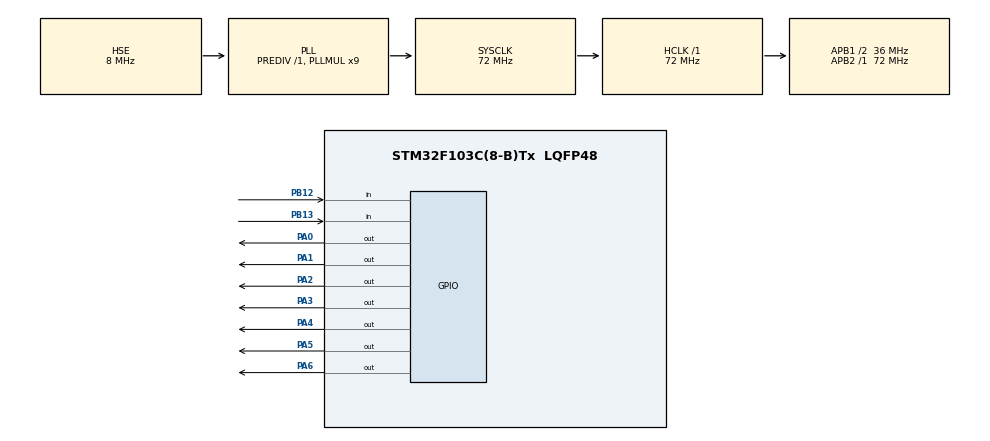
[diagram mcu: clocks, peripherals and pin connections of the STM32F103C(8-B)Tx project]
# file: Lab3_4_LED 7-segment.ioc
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Mcu.Family=STM32F1
Mcu.Name=STM32F103C(8-B)Tx
Mcu.Package=LQFP48
NVIC.PriorityGroup=NVIC_PRIORITYGROUP_4
PA0-WKUP.PinState=GPIO_PIN_RESET
PA0-WKUP.Signal=GPIO_Output
PA1.PinState=GPIO_PIN_RESET
PA1.Signal=GPIO_Output
PA13.Mode=Serial_Wire
PA13.Signal=SYS_JTMS-SWDIO
PA14.Mode=Serial_Wire
PA14.Signal=SYS_JTCK-SWCLK
PA2.PinState=GPIO_PIN_RESET
PA2.Signal=GPIO_Output
PA3.PinState=GPIO_PIN_RESET
PA3.Signal=GPIO_Output
PA4.PinState=GPIO_PIN_RESET
PA4.Signal=GPIO_Output
PA5.PinState=GPIO_PIN_RESET
PA5.Signal=GPIO_Output
PA6.PinState=GPIO_PIN_RESET
PA6.Signal=GPIO_Output
PB12.Signal=GPIO_Input
PB13.Signal=GPIO_Input
PD0-OSC_IN.Mode=HSE-External-Oscillator
PD0-OSC_IN.Signal=RCC_OSC_IN
PD1-OSC_OUT.Mode=HSE-External-Oscillator
PD1-OSC_OUT.Signal=RCC_OSC_OUT
ProjectManager.HeapSize=0x200
ProjectManager.StackSize=0x400
ProjectManager.TargetToolchain=STM32CubeIDE
RCC.AHBFreq_Value=72000000
RCC.APB1CLKDivider=RCC_HCLK_DIV2
RCC.APB1Freq_Value=36000000
RCC.APB1TimFreq_Value=72000000
RCC.APB2Freq_Value=72000000
RCC.APB2TimFreq_Value=72000000
RCC.HCLKFreq_Value=72000000
RCC.PLLMUL=RCC_PLL_MUL9
RCC.PLLSourceVirtual=RCC_PLLSOURCE_HSE
RCC.SYSCLKFreq_VALUE=72000000
RCC.SYSCLKSource=RCC_SYSCLKSOURCE_PLLCLK
RCC.USBFreq_Value=72000000
board=custom

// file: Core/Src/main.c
/* USER CODE BEGIN Header */
/**
  ******************************************************************************
  * @file           : main.c
  * @brief          : Main program body
  ******************************************************************************
  * @attention
  *
  * Copyright (c) 2026 STMicroelectronics.
  * All rights reserved.
  *
  * This software is licensed under terms that can be found in the LICENSE file
  * in the root directory of this software component.
  * If no LICENSE file comes with this software, it is provided AS-IS.
  *
  ******************************************************************************
  */
/* USER CODE END Header */
#include "main.h"

/* USER CODE BEGIN PM */
void All_Segment_Off(void);

/* USER CODE END PM */

/* USER CODE BEGIN PV */
	uint8_t segment_map[16] = {
		0x3F,
		0x06,
		0x5B,
		0x4F,
		0x66,
		0x6D,
		0x7D,
		0x27,
		0x7F,
		0x6F,
		0x77,
		0x7F,
		0x39,
		0x3F,
		0x79,
		0x71
	};

/* USER CODE END PV */

void SystemClock_Config(void);
static void MX_GPIO_Init(void);

int main(void)
{

  /* MCU Configuration--------------------------------------------------------*/

  /* Reset of all peripherals, Initializes the Flash interface and the Systick. */
  HAL_Init();

  /* Configure the system clock */
  SystemClock_Config();

  /* Initialize all configured peripherals */
  MX_GPIO_Init();

  /* Infinite loop */
  while (1)
  {

    /* USER CODE BEGIN 3 */
	  for (int i = 0; i < 16; i++){
//		  GPIOA->ODR &= ~(0x7F);
//		  GPIOA->ODR |= segment_map[i];

		  All_Segment_Off();
		  HAL_GPIO_WritePin(GPIOA, segment_map[i], GPIO_PIN_SET);

		  HAL_Delay(500);
	  }
  }
  /* USER CODE END 3 */
}

void SystemClock_Config(void)
{
  RCC_OscInitTypeDef RCC_OscInitStruct = {0};
  RCC_ClkInitTypeDef RCC_ClkInitStruct = {0};

  /** Initializes the RCC Oscillators according to the specified parameters
  * in the RCC_OscInitTypeDef structure.
  */
  RCC_OscInitStruct.OscillatorType = RCC_OSCILLATORTYPE_HSE;
  RCC_OscInitStruct.HSEState = RCC_HSE_ON;
  RCC_OscInitStruct.HSEPredivValue = RCC_HSE_PREDIV_DIV1;
  RCC_OscInitStruct.HSIState = RCC_HSI_ON;
  RCC_OscInitStruct.PLL.PLLState = RCC_PLL_ON;
  RCC_OscInitStruct.PLL.PLLSource = RCC_PLLSOURCE_HSE;
  RCC_OscInitStruct.PLL.PLLMUL = RCC_PLL_MUL9;
  if (HAL_RCC_OscConfig(&RCC_OscInitStruct) != HAL_OK)
  {
    Error_Handler();
  }

  /** Initializes the CPU, AHB and APB buses clocks
  */
  RCC_ClkInitStruct.ClockType = RCC_CLOCKTYPE_HCLK|RCC_CLOCKTYPE_SYSCLK
                              |RCC_CLOCKTYPE_PCLK1|RCC_CLOCKTYPE_PCLK2;
  RCC_ClkInitStruct.SYSCLKSource = RCC_SYSCLKSOURCE_PLLCLK;
  RCC_ClkInitStruct.AHBCLKDivider = RCC_SYSCLK_DIV1;
  RCC_ClkInitStruct.APB1CLKDivider = RCC_HCLK_DIV2;
  RCC_ClkInitStruct.APB2CLKDivider = RCC_HCLK_DIV1;

  if (HAL_RCC_ClockConfig(&RCC_ClkInitStruct, FLASH_LATENCY_2) != HAL_OK)
  {
    Error_Handler();
  }
}

static void MX_GPIO_Init(void)
{
  GPIO_InitTypeDef GPIO_InitStruct = {0};

  /* GPIO Ports Clock Enable */
  __HAL_RCC_GPIOD_CLK_ENABLE();
  __HAL_RCC_GPIOA_CLK_ENABLE();
  __HAL_RCC_GPIOB_CLK_ENABLE();

  /*Configure GPIO pin Output Level */
  HAL_GPIO_WritePin(GPIOA, GPIO_PIN_0|GPIO_PIN_1|GPIO_PIN_2|GPIO_PIN_3
                          |GPIO_PIN_4|GPIO_PIN_5|GPIO_PIN_6, GPIO_PIN_RESET);

  /*Configure GPIO pins : PA0 PA1 PA2 PA3
                           PA4 PA5 PA6 */
  GPIO_InitStruct.Pin = GPIO_PIN_0|GPIO_PIN_1|GPIO_PIN_2|GPIO_PIN_3
                          |GPIO_PIN_4|GPIO_PIN_5|GPIO_PIN_6;
  GPIO_InitStruct.Mode = GPIO_MODE_OUTPUT_PP;
  GPIO_InitStruct.Pull = GPIO_NOPULL;
  GPIO_InitStruct.Speed = GPIO_SPEED_FREQ_LOW;
  HAL_GPIO_Init(GPIOA, &GPIO_InitStruct);

  /*Configure GPIO pins : PB12 PB13 */
  GPIO_InitStruct.Pin = GPIO_PIN_12|GPIO_PIN_13;
  GPIO_InitStruct.Mode = GPIO_MODE_INPUT;
  GPIO_InitStruct.Pull = GPIO_NOPULL;
  HAL_GPIO_Init(GPIOB, &GPIO_InitStruct);

}

/* USER CODE BEGIN 4 */
	void All_Segment_Off(void){
		HAL_GPIO_WritePin(GPIOA, GPIO_PIN_0|GPIO_PIN_1|GPIO_PIN_2|GPIO_PIN_3|GPIO_PIN_4|GPIO_PIN_5|GPIO_PIN_6, GPIO_PIN_RESET);
	}

/* USER CODE END 4 */

void Error_Handler(void)
{
  __disable_irq();
  while (1)
  {
  }
}
